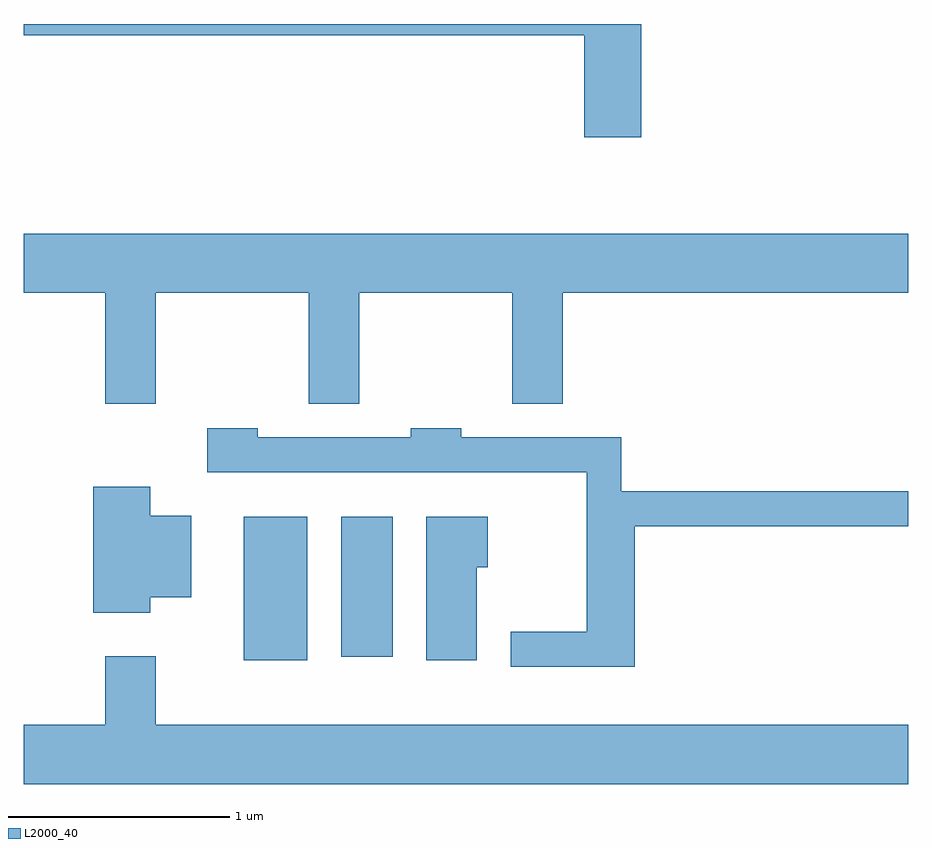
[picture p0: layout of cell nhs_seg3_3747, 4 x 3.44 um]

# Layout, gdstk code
import gdstk
lib = gdstk.Library(unit=1e-6, precision=1e-09)
def R(c, l, rs):  # rectangles x0, y0, x1, y1
    for r in rs: c.add(gdstk.rectangle(r[:2], r[2:], *l))
def P(c, l, *ps):  # polygons
    for p in ps: c.add(gdstk.Polygon(p, *l))
L2000_40 = (2000, 40)

nhs_seg3_3747 = lib.new_cell('nhs_seg3_3747')
R(nhs_seg3_3747, L2000_40, [(296.606,1131.016,296.894,1131.664), (297.046,1131.031,297.279,1131.664)])
P(nhs_seg3_3747, L2000_40, [(298.404,1133.892),(295.611,1133.892),(295.611,1133.841),(298.146,1133.841),(298.146,1133.381),(298.404,1133.381)],
  [(296.209,1132.676),(296.901,1132.676),(296.901,1132.176),(297.129,1132.176),(297.129,1132.676),(297.821,1132.676),(297.821,1132.176),(298.049,1132.176),(298.049,1132.676),(299.611,1132.676),(299.611,1132.944),(295.611,1132.944),(295.611,1132.676),(295.981,1132.676),(295.981,1132.176),(296.209,1132.176)],
  [(298.374,1131.621),(299.611,1131.621),(299.611,1131.779),(298.314,1131.779),(298.314,1132.024),(297.589,1132.024),(297.589,1132.064),(297.361,1132.064),(297.361,1132.024),(296.669,1132.024),(296.669,1132.064),(296.441,1132.064),(296.441,1131.866),(298.156,1131.866),(298.156,1131.144),(297.813,1131.144),(297.813,1130.986),(298.374,1130.986)],
  [(296.184,1131.301),(296.369,1131.301),(296.369,1131.669),(296.184,1131.669),(296.184,1131.799),(295.926,1131.799),(295.926,1131.231),(296.184,1131.231)],
  [(297.659,1131.436),(297.709,1131.436),(297.709,1131.664),(297.431,1131.664),(297.431,1131.016),(297.659,1131.016)],
  [(299.611,1130.724),(296.209,1130.724),(296.209,1131.034),(295.981,1131.034),(295.981,1130.724),(295.611,1130.724),(295.611,1130.456),(299.611,1130.456)])

lib.write_gds('nhs_seg3_3747.gds')
